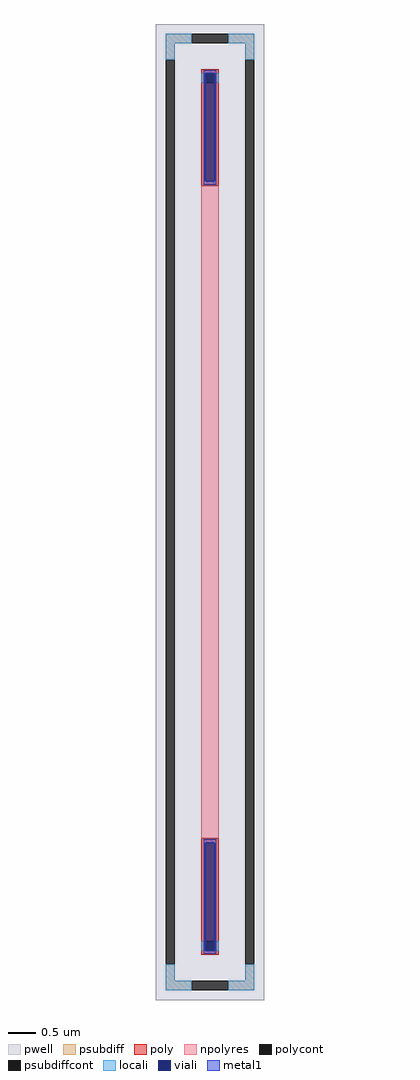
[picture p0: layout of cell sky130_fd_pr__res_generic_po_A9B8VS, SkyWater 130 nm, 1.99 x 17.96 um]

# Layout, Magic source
magic
tech sky130A
magscale 1 2
<< pwell >>
rect -199 -1796 199 1796
<< psubdiff >>
rect -163 1726 -67 1760
rect 67 1726 163 1760
rect -163 1664 -129 1726
rect 129 1664 163 1726
rect -163 -1726 -129 -1664
rect 129 -1726 163 -1664
rect -163 -1760 -67 -1726
rect 67 -1760 163 -1726
<< psubdiffcont >>
rect -67 1726 67 1760
rect -163 -1664 -129 1664
rect 129 -1664 163 1664
rect -67 -1760 67 -1726
<< poly >>
rect -33 1614 33 1630
rect -33 1580 -17 1614
rect 17 1580 33 1614
rect -33 1200 33 1580
rect -33 -1580 33 -1200
rect -33 -1614 -17 -1580
rect 17 -1614 33 -1580
rect -33 -1630 33 -1614
<< polycont >>
rect -17 1580 17 1614
rect -17 -1614 17 -1580
<< npolyres >>
rect -33 -1200 33 1200
<< locali >>
rect -163 1726 -67 1760
rect 67 1726 163 1760
rect -163 1664 -129 1726
rect 129 1664 163 1726
rect -33 1580 -17 1614
rect 17 1580 33 1614
rect -33 -1614 -17 -1580
rect 17 -1614 33 -1580
rect -163 -1726 -129 -1664
rect 129 -1726 163 -1664
rect -163 -1760 -67 -1726
rect 67 -1760 163 -1726
<< viali >>
rect -17 1580 17 1614
rect -17 1217 17 1580
rect -17 -1580 17 -1217
rect -17 -1614 17 -1580
<< metal1 >>
rect -23 1614 23 1626
rect -23 1217 -17 1614
rect 17 1217 23 1614
rect -23 1205 23 1217
rect -23 -1217 23 -1205
rect -23 -1614 -17 -1217
rect 17 -1614 23 -1217
rect -23 -1626 23 -1614
<< properties >>
string FIXED_BBOX -146 -1743 146 1743
string gencell sky130_fd_pr__res_generic_po
string library sky130
string parameters w 0.330 l 12 m 1 nx 1 wmin 0.330 lmin 1.650 rho 48.2 val 1.752k dummy 0 dw 0.0 term 0.0 sterm 0.0 caplen 0.4 snake 0 guard 1 glc 1 grc 1 gtc 1 gbc 1 roverlap 0 endcov 100 full_metal 1 hv_guard 0 n_guard 0 vias 1 viagb 0 viagt 0 viagl 0 viagr 0
<< end >>
